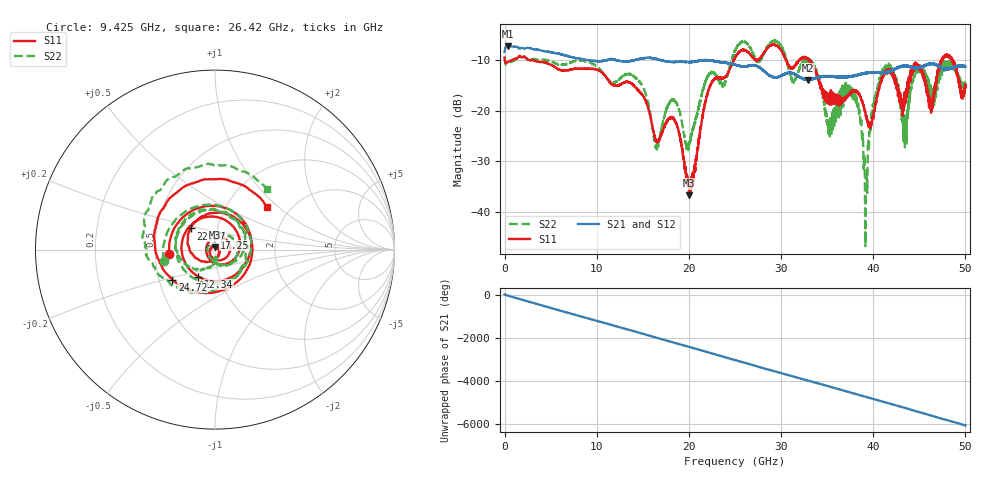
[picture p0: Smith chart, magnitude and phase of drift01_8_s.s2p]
!Created with skrf (http://scikit-rf.org).
# Hz S RI R 50.0
!freq ReS11 ImS11 ReS21 ImS21 ReS12 ImS12 ReS22 ImS22
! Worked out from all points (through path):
!   10001 points, 300 kHz to 50 GHz, reference 50 ohm
!   highest |S21| = -7.33 dB at 325.3 MHz (marker M1); lowest = -14.0 dB at 32.94 GHz (marker M2)
!   group delay of S21, straight-line fit = 335 ps
!   lowest |S11| = -36.7 dB at 20.01 GHz (marker M3), VSWR 1.03, Z = 49.8 + j1.45 ohm
!   |S11| at or under -10 dB: 2.566 GHz to 24.9 GHz (22.34 GHz wide, 163 % of centre); 30.51 GHz to 32.02 GHz (1.511 GHz wide, 4.83 % of centre); 33.07 GHz to 47.44 GHz (14.37 GHz wide, 35.7 % of centre) (the widest 3 of 20)
!   |S22| runs from -46.6 to -6.2 dB; largest |S21 - S12| = 0.0079
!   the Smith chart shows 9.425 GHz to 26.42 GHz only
!   S11 on the Smith chart (normalised r, x): 9.425 GHz: 0.59, -0.03; 12.34 GHz: 0.80, -0.25; 17.25 GHz: 0.98, +0.13; 22.37 GHz: 0.74, +0.18; 24.72 GHz: 0.59, -0.21; 26.42 GHz: 1.53, +0.84
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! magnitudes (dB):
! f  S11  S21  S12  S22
! 300 kHz  -9.6  -8.5  -8.5  -9.5
! 325.3 MHz  -10.5  -7.3  -7.3  -10.9
! 8.335 GHz  -11.8  -9.9  -9.9  -10.2
! 9.425 GHz  -11.8  -10.2  -10.2  -10.7
! 12.34 GHz  -15.1  -10.2  -10.2  -14.0
! 16.67 GHz  -26.1  -10.0  -10.0  -27.0
! 17.25 GHz  -23.5  -10.2  -10.2  -21.5
! 20.01 GHz  -36.7  -10.5  -10.5  -26.4
! 22.37 GHz  -14.9  -10.2  -10.2  -12.6
! 24.72 GHz  -10.8  -10.8  -10.8  -9.6
! 25 GHz  -9.6  -11.0  -11.0  -8.3
! 26.42 GHz  -8.6  -11.2  -11.3  -7.0
! 32.94 GHz  -10.0  -14.0  -13.9  -10.2
! 33.34 GHz  -10.9  -13.8  -13.8  -10.6
! 35.23 GHz  -17.4  -13.3  -13.3  -22.8
! 37.99 GHz  -16.1  -13.2  -13.1  -17.2
! 39.17 GHz  -20.7  -12.6  -12.7  -43.8
! 40.16 GHz  -19.8  -12.5  -12.5  -17.6
! 41.67 GHz  -12.2  -12.3  -12.4  -11.7
! 43.39 GHz  -18.0  -11.3  -11.2  -23.5
! 44.89 GHz  -11.5  -11.6  -11.6  -11.5
! 50 GHz  -15.4  -11.4  -11.4  -14.9
